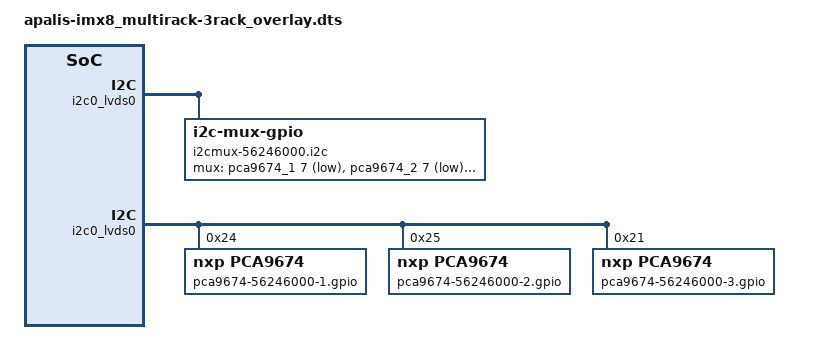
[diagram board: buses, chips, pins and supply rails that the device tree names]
#include <dt-bindings/gpio/gpio.h>

/dts-v1/;
/plugin/;
/ {
    fragment@100 {
        target-path = "/";
        __overlay__ {
            i2cmux-56246000.i2c {
                compatible = "i2c-mux-gpio";
                #address-cells = <1>;
                #size-cells = <0>;
                mux-gpios = <&pca9674_1 7 GPIO_ACTIVE_LOW &pca9674_2 7 GPIO_ACTIVE_LOW &pca9674_3 7 GPIO_ACTIVE_LOW>;
                i2c-parent = <&i2c0_lvds0>;

                /* Reg property output to pins, first in the list holds LSB */
                i2c@1 { /* Expectation: IOXPD at 0x24 pull low */
                    reg = <1>; /* 0 0 1 */
                    #address-cells = <1>;
                    #size-cells = <0>;
                };
                i2c@2 { /* Expectation: IOXPD at 0x25 pull low */
                    reg = <2>; /* 0 1 0 */
                    #address-cells = <1>;
                    #size-cells = <0>;
                };
                i2c@4 { /* Expectation: IOXPD at 0x21 pull low */
                    reg = <4>; /* 1 0 0 */
                    #address-cells = <1>;
                    #size-cells = <0>;
                };
            };
        };
    };
};

/* RCU's I2C4 */
&i2c0_lvds0 {

    /* PCA9674 8-bit IO expander on I2C4 */
    pca9674_1: gpio@24 {
        compatible = "nxp,pca9674";
        reg = <0x24>;
        gpio-controller;
        #gpio-cells = <2>;
        label = "pca9674-56246000-1.gpio";
        lines-initial-states = <0x00>;
        gpio-line-names =
            "IOXPD2_IO0_0", "IOXPD2_IO0_1", "IOXPD2_IO0_2", "IOXPD2_IO0_3", "IOXPD2_IO0_4", "IOXPD2_IO0_5", "IOXPD2_IO0_6", "IOXPD2_IO0_7";
    };
    
    /* PCA9674 8-bit IO expander on I2C4 */
    pca9674_2: gpio@25 {
        compatible = "nxp,pca9674";
        reg = <0x25>;
        gpio-controller;
        #gpio-cells = <2>;
        label = "pca9674-56246000-2.gpio";
        lines-initial-states = <0x00>;
        gpio-line-names =
            "IOXPD3_IO0_0", "IOXPD3_IO0_1", "IOXPD3_IO0_2", "IOXPD3_IO0_3", "IOXPD3_IO0_4", "IOXPD3_IO0_5", "IOXPD3_IO0_6", "IOXPD3_IO0_7";
    };
    
    /* PCA9674 8-bit IO expander on I2C4 */
    pca9674_3: gpio@21 {
        compatible = "nxp,pca9674";
        reg = <0x21>;
        gpio-controller;
        #gpio-cells = <2>;
        label = "pca9674-56246000-3.gpio";
        lines-initial-states = <0x00>;
        gpio-line-names =
            "IOXPD4_IO0_0", "IOXPD4_IO0_1", "IOXPD4_IO0_2", "IOXPD4_IO0_3", "IOXPD4_IO0_4", "IOXPD4_IO0_5", "IOXPD4_IO0_6", "IOXPD4_IO0_7";
    };
};
